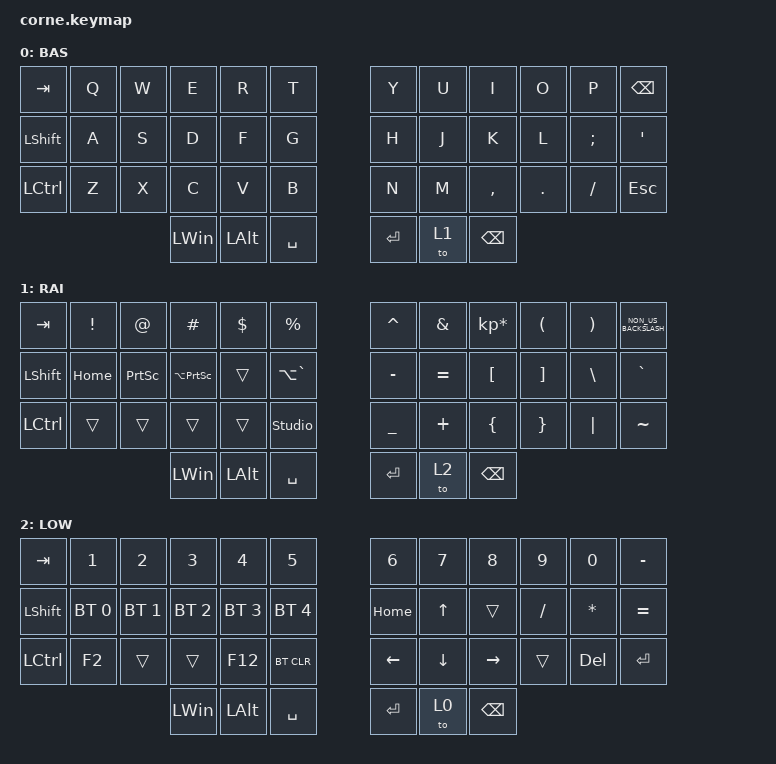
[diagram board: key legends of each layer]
/*
 * Copyright (c) 2020 The ZMK Contributors
 *
 * SPDX-License-Identifier: MIT
 */

#include <dt-bindings/led/led.h>
#include <dt-bindings/zmk/reset.h>
#include <behaviors.dtsi>
#include <dt-bindings/zmk/bt.h>
#include <dt-bindings/zmk/keys.h>
#include <dt-bindings/zmk/rgb.h>

&led_strip { chain-length = <27>; };

/ {
    combos {
        compatible = "zmk,combos";

        concuxinhxan {
            bindings = <&mo 1>;
            key-positions = <0 1>;
        };
    };

    macros {
        led_to_base: led_to_base {
            compatible = "zmk,behavior-macro";
            #binding-cells = <0>;
            bindings = <&rgb_ug RGB_COLOR_HSB(0,100,52) &to 0>;
            label = "LED_TO_BASE";
        };

        led_to_low: led_to_low {
            compatible = "zmk,behavior-macro";
            #binding-cells = <0>;
            bindings = <&rgb_ug RGB_COLOR_HSB(240,100,50) &to 2>;
            label = "LED_TO_LOW";
        };

        led_to_raise: led_to_raise {
            compatible = "zmk,behavior-macro";
            #binding-cells = <0>;
            bindings = <&rgb_ug RGB_COLOR_HSB(296,100,50) &to 1>;
            label = "LED_TO_RAISE";
        };
    };

    keymap {
        compatible = "zmk,keymap";

        default_layer {
            display-name = "BAS";

            // -----------------------------------------------------------------------------------------
            // |  TAB |  Q  |  W  |  E  |  R  |  T  |   |  Y  |  U   |  I  |  O  |  P  | BKSP |
            // | CTRL |  A  |  S  |  D  |  F  |  G  |   |  H  |  J   |  K  |  L  |  ;  |  '   |
            // | SHFT |  Z  |  X  |  C  |  V  |  B  |   |  N  |  M   |  ,  |  .  |  /  | ESC  |
            //                    | GUI | LWR | SPC |   | ENT | RSE  | ALT |

            bindings = <
&kp TAB         &kp Q  &kp W  &kp E         &kp R         &kp T        &kp Y    &kp U  &kp I          &kp O    &kp P     &kp BACKSPACE
&kp LEFT_SHIFT  &kp A  &kp S  &kp D         &kp F         &kp G        &kp H    &kp J  &kp K          &kp L    &kp SEMI  &kp SQT
&kp LCTRL       &kp Z  &kp X  &kp C         &kp V         &kp B        &kp N    &kp M  &kp COMMA      &kp DOT  &kp FSLH  &kp ESC
                              &kp LEFT_WIN  &kp LEFT_ALT  &kp SPACE    &kp RET  &to 1  &kp BACKSPACE
            >;
        };

        raise_layer {
            display-name = "RAI";

            // -----------------------------------------------------------------------------------------
            // |  TAB |  !  |  @  |  #  |  $  |  %  |   |  ^  |  &  |  *  |  (  |  )  | BKSP |
            // | CTRL |     |     |     |     |     |   |  -  |  =  |  [  |  ]  |  \  |  `   |
            // | SHFT |     |     |     |     |     |   |  _  |  +  |  {  |  }  | "|" |  ~   |
            //                    | GUI |     | SPC |   | ENT |     | ALT |

            bindings = <
&kp TAB         &kp EXCL  &kp AT           &kp HASH             &kp DLLR  &kp PRCNT         &kp CARET  &kp AMPS   &kp KP_MULTIPLY  &kp LPAR  &kp RPAR  &kp NON_US_BACKSLASH
&kp LEFT_SHIFT  &kp HOME  &kp PRINTSCREEN  &kp LA(PRINTSCREEN)  &trans    &kp LA(GRAVE)     &kp MINUS  &kp EQUAL  &kp LBKT         &kp RBKT  &kp BSLH  &kp GRAVE
&kp LCTRL       &trans    &trans           &trans               &trans    &studio_unlock    &kp UNDER  &kp PLUS   &kp LBRC         &kp RBRC  &kp PIPE  &kp TILDE
                                           &kp LEFT_WIN         &kp LALT  &kp SPACE         &kp RET    &to 2      &kp BACKSPACE
            >;
        };

        lower_layer {
            display-name = "LOW";

            // -----------------------------------------------------------------------------------------
            // |  TAB |  1  |  2  |  3  |  4  |  5  |   |  6  |  7  |  8  |  9  |  0  | BKSP |
            // | BTCLR| BT1 | BT2 | BT3 | BT4 | BT5 |   | LFT | DWN |  UP | RGT |     |      |
            // | SHFT |     |     |     |     |     |   |     |     |     |     |     |      |
            //                    | GUI |     | SPC |   | ENT |     | ALT |

            bindings = <
&kp TAB         &kp N1        &kp N2        &kp N3        &kp N4        &kp N5          &kp N6          &kp N7        &kp N8         &kp N9     &kp N0        &kp MINUS
&kp LEFT_SHIFT  &bt BT_SEL 0  &bt BT_SEL 1  &bt BT_SEL 2  &bt BT_SEL 3  &bt BT_SEL 4    &kp HOME        &kp UP_ARROW  &trans         &kp SLASH  &kp ASTERISK  &kp EQUAL
&kp LCTRL       &kp F2        &trans        &trans        &kp F12       &bt BT_CLR      &kp LEFT_ARROW  &kp DOWN      &kp RIGHT      &trans     &kp DEL       &kp ENTER
                                            &kp LEFT_WIN  &kp LEFT_ALT  &kp SPACE       &kp RET         &to 0         &kp BACKSPACE
            >;
        };

        extra_1 { status = "reserved"; };

        extra_2 { status = "reserved"; };

        extra_3 { status = "reserved"; };
    };
};
